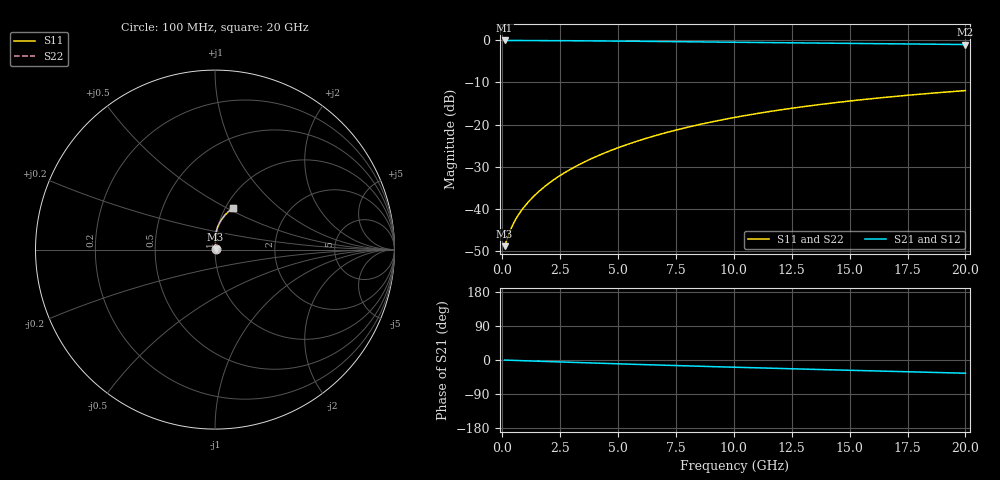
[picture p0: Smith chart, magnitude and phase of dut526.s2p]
! Touchstone file exported from HFSS 2024.1.0
!  File:  C:/UserFiles/LocalFiles/RDL_TSV_Batchsim/temp_RDL_top_526_1779679984.aedt
!  Generated:  11:35:13 AM May 25, 2026
!  Design:  RDL_top
!  Project:  temp_RDL_top_526_1779679984
!  Setup:  Setup1
!  Solution:  Sweep
! Variables:
!  dtsv = 10.80580581um
!  hbump = 3um
!  htsv = 74.13um
!  ldown = 100um
!  lrdl = 544.68um
!  p = 40
!  p1 = 40.91um
!  rhole = 1um
!  t = 450um
!  tdown = 3.915915916um
!  trdl = 2.45um
!  wdown = 15.38538539um
!  wrdl = 25.6um
# GHz S MA R 50.000000
! Terminal data exported
! Port[1] = Box2_T1
! Port[2] = Box2_T2
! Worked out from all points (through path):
!   200 points, 100 MHz to 20 GHz, reference 50 ohm
!   highest |S21| = -0.03 dB at 100 MHz (marker M1); lowest = -1.0 dB at 20 GHz (marker M2)
!   group delay of S21, straight-line fit = 4.79 ps
!   lowest |S11| = -48.8 dB at 100 MHz (marker M3), VSWR 1.01, Z = 50.3 + j0.126 ohm
!   |S11| at or under -10 dB: start of sweep to end of sweep
!   |S22| runs from -48.8 to -11.9 dB; largest |S21 - S12| = 3.5e-15
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0.1  0.003623 20.2  0.9966 -0.2  0.9966 -0.2  0.003623 20.2
! Gamma 0 0 0 0
! Port Impedance 50 0 50 0
0.3  0.005153 43.5  0.9962 -0.7  0.9962 -0.7  0.005153 43.5
0.4  0.006026 49.4  0.9959 -0.9  0.9959 -0.9  0.006026 49.4
0.5  0.006884 53.6  0.9957 -1.1  0.9957 -1.1  0.006884 53.6
0.6  0.007724 57.0  0.9954 -1.3  0.9954 -1.3  0.007724 57.0
0.7  0.008553 59.9  0.9952 -1.5  0.9952 -1.5  0.008554 59.9
0.9  0.01021 64.6  0.9948 -1.9  0.9948 -1.9  0.01021 64.6
1.2  0.01276 69.9  0.9942 -2.5  0.9942 -2.5  0.01276 69.9
1.7  0.01724 76.1  0.993 -3.6  0.993 -3.6  0.01724 76.1
2.2  0.022 80.1  0.9916 -4.6  0.9916 -4.6  0.022 80.1
2.8  0.02806 83.4  0.9895 -5.8  0.9895 -5.8  0.02806 83.4
3.5  0.03559 85.8  0.9867 -7.2  0.9867 -7.2  0.0356 85.8
4.2  0.0436 87.2  0.9834 -8.6  0.9834 -8.6  0.0436 87.2
5  0.05327 88.1  0.9793 -10.1  0.9793 -10.1  0.05328 88.1
5.9  0.06474 88.2  0.9742 -11.8  0.9742 -11.8  0.06475 88.2
6.8  0.0767 87.8  0.9689 -13.4  0.9689 -13.4  0.07671 87.8
8.4  0.09879 86.2  0.9592 -16.3  0.9592 -16.3  0.0988 86.2
10.1  0.1228 83.7  0.9488 -19.2  0.9488 -19.2  0.1228 83.7
11.7  0.1454 81.0  0.9392 -21.9  0.9392 -21.9  0.1454 81.0
13.4  0.169 77.9  0.9291 -24.6  0.9291 -24.6  0.1691 77.9
16.7  0.213 72.0  0.9102 -29.8  0.9102 -29.8  0.213 71.9
20  0.2536 66.2  0.8918 -34.9  0.8918 -34.9  0.2536 66.1
